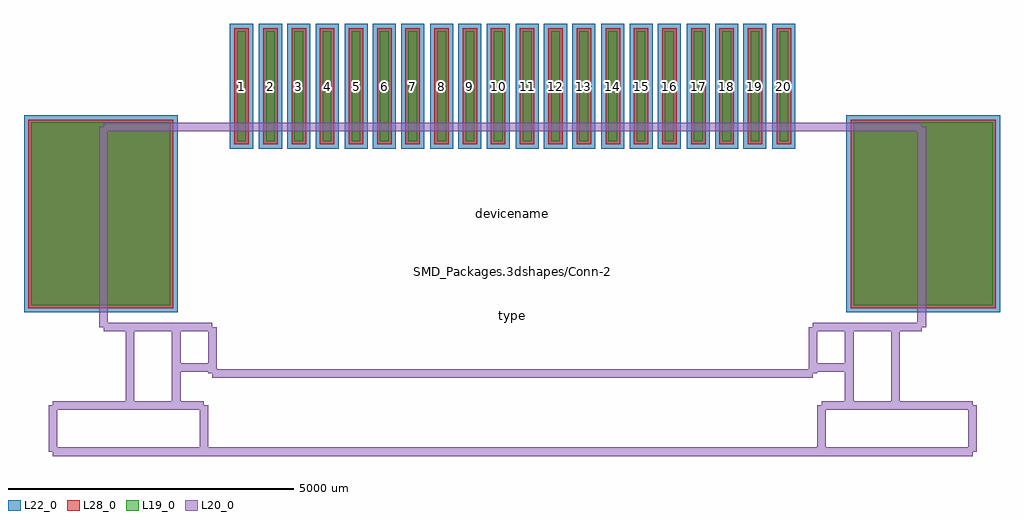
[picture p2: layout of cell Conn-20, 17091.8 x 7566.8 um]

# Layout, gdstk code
import gdstk
lib = gdstk.Library(unit=1e-6, precision=1e-09)
def R(c, l, rs):  # rectangles x0, y0, x1, y1
    for r in rs: c.add(gdstk.rectangle(r[:2], r[2:], *l))
def A(c, l, x, y, w, h, nx, ny, dx, dy):  # array of equal rectangles
    R(c, l, [(x+i*dx, y+j*dy, x+i*dx+w, y+j*dy+h) for i in range(nx) for j in range(ny)])
L19_0 = (19, 0)
L20_0 = (20, 0)
L22_0 = (22, 0)
L28_0 = (28, 0)

conn_20 = lib.new_cell('Conn-20')
A(conn_20, L19_0, -4318.8, 2285.2, 154, 1932, 3, 1, 495.3, 0)
A(conn_20, L19_0, -2820.2, 2285.2, 154, 1932, 3, 1, 495.3, 0)
A(conn_20, L19_0, -1321.6, 2285.2, 154, 1932, 3, 1, 495.3, 0)
A(conn_20, L19_0, 177, 2285.2, 154, 1932, 3, 1, 495.3, 0)
A(conn_20, L19_0, 1675.6, 2285.2, 154, 1932, 3, 1, 495.3, 0)
A(conn_20, L19_0, 3174.2, 2285.2, 154, 1932, 3, 1, 495.3, 0)
R(conn_20, L19_0, [(-8433.6,-585,-5993.6,2617), (5968.2,-585,8408.2,2617), (-4826.8,2285.2,-4672.8,4217.2), (4672.8,2285.2,4826.8,4217.2)])
A(conn_20, L22_0, -4443.8, 2160.2, 404, 2182, 3, 1, 495.3, 0)
A(conn_20, L22_0, -2945.2, 2160.2, 404, 2182, 3, 1, 495.3, 0)
A(conn_20, L22_0, -1446.6, 2160.2, 404, 2182, 3, 1, 495.3, 0)
A(conn_20, L22_0, 52, 2160.2, 404, 2182, 3, 1, 495.3, 0)
A(conn_20, L22_0, 1550.6, 2160.2, 404, 2182, 3, 1, 495.3, 0)
A(conn_20, L22_0, 3049.2, 2160.2, 404, 2182, 3, 1, 495.3, 0)
R(conn_20, L22_0, [(-8558.6,-710,-5868.6,2742), (5843.2,-710,8533.2,2742), (-4951.8,2160.2,-4547.8,4342.2), (4547.8,2160.2,4951.8,4342.2)])
A(conn_20, L28_0, -4368.8, 2235.2, 254, 2032, 3, 1, 495.3, 0)
A(conn_20, L28_0, -2870.2, 2235.2, 254, 2032, 3, 1, 495.3, 0)
A(conn_20, L28_0, -1371.6, 2235.2, 254, 2032, 3, 1, 495.3, 0)
A(conn_20, L28_0, 127, 2235.2, 254, 2032, 3, 1, 495.3, 0)
A(conn_20, L28_0, 1625.6, 2235.2, 254, 2032, 3, 1, 495.3, 0)
A(conn_20, L28_0, 3124.2, 2235.2, 254, 2032, 3, 1, 495.3, 0)
R(conn_20, L28_0, [(-8483.6,-635,-5943.6,2667), (5918.2,-635,8458.2,2667), (-4876.8,2235.2,-4622.8,4267.2), (4622.8,2235.2,4876.8,4267.2)])
conn_20.add(gdstk.FlexPath([(-7162.8,2540),(7162.8,2540)], 149.998, ends="flush", simple_path=True, layer=20, datatype=0))  # L20_0
conn_20.add(gdstk.FlexPath([(5410.2,-2336.8),(5410.2,-3149.6)], 149.998, ends="flush", simple_path=True, layer=20, datatype=0))  # L20_0
conn_20.add(gdstk.FlexPath([(8051.8,-2336.8),(5410.2,-2336.8)], 149.998, ends="flush", simple_path=True, layer=20, datatype=0))  # L20_0
conn_20.add(gdstk.FlexPath([(8051.8,-3149.6),(8051.8,-2336.8)], 149.998, ends="flush", simple_path=True, layer=20, datatype=0))  # L20_0
conn_20.add(gdstk.FlexPath([(-8051.8,-3149.6),(8051.8,-3149.6)], 149.998, ends="flush", simple_path=True, layer=20, datatype=0))  # L20_0
conn_20.add(gdstk.FlexPath([(-5410.2,-2336.8),(-5410.2,-3149.6)], 149.998, ends="flush", simple_path=True, layer=20, datatype=0))  # L20_0
conn_20.add(gdstk.FlexPath([(-8051.8,-2336.8),(-5410.2,-2336.8)], 149.998, ends="flush", simple_path=True, layer=20, datatype=0))  # L20_0
conn_20.add(gdstk.FlexPath([(-8051.8,-3149.6),(-8051.8,-2336.8)], 149.998, ends="flush", simple_path=True, layer=20, datatype=0))  # L20_0
conn_20.add(gdstk.FlexPath([(-5892.8,-965.2),(-5892.8,-2336.8)], 149.998, ends="flush", simple_path=True, layer=20, datatype=0))  # L20_0
conn_20.add(gdstk.FlexPath([(-6705.6,-965.2),(-6705.6,-2336.8)], 149.998, ends="flush", simple_path=True, layer=20, datatype=0))  # L20_0
conn_20.add(gdstk.FlexPath([(-5257.8,-1676.4),(-5892.8,-1676.4)], 149.998, ends="flush", simple_path=True, layer=20, datatype=0))  # L20_0
conn_20.add(gdstk.FlexPath([(5892.8,-965.2),(5892.8,-2336.8)], 149.998, ends="flush", simple_path=True, layer=20, datatype=0))  # L20_0
conn_20.add(gdstk.FlexPath([(5257.8,-1676.4),(5892.8,-1676.4)], 149.998, ends="flush", simple_path=True, layer=20, datatype=0))  # L20_0
conn_20.add(gdstk.FlexPath([(6705.6,-965.2),(6705.6,-2336.8)], 149.998, ends="flush", simple_path=True, layer=20, datatype=0))  # L20_0
conn_20.add(gdstk.FlexPath([(7162.8,-965.2),(7162.8,2540)], 149.998, ends="flush", simple_path=True, layer=20, datatype=0))  # L20_0
conn_20.add(gdstk.FlexPath([(5257.8,-965.2),(7162.8,-965.2)], 149.998, ends="flush", simple_path=True, layer=20, datatype=0))  # L20_0
conn_20.add(gdstk.FlexPath([(5257.8,-1778),(5257.8,-965.2)], 149.998, ends="flush", simple_path=True, layer=20, datatype=0))  # L20_0
conn_20.add(gdstk.FlexPath([(-5257.8,-1778),(5257.8,-1778)], 149.998, ends="flush", simple_path=True, layer=20, datatype=0))  # L20_0
conn_20.add(gdstk.FlexPath([(-5257.8,-965.2),(-5257.8,-1778)], 149.998, ends="flush", simple_path=True, layer=20, datatype=0))  # L20_0
conn_20.add(gdstk.FlexPath([(-7162.8,-965.2),(-5257.8,-965.2)], 149.998, ends="flush", simple_path=True, layer=20, datatype=0))  # L20_0
conn_20.add(gdstk.FlexPath([(-7162.8,2540),(-7162.8,-965.2)], 149.998, ends="flush", simple_path=True, layer=20, datatype=0))  # L20_0
conn_20.add(gdstk.Label('SMD_Packages.3dshapes/Conn-20.wrl', (0,0), layer=12, texttype=0))
conn_20.add(gdstk.Label('20', (4749.8,3251.2), layer=28, texttype=0))
conn_20.add(gdstk.Label('19', (4241.8,3251.2), layer=28, texttype=0))
conn_20.add(gdstk.Label('18', (3746.5,3251.2), layer=28, texttype=0))
conn_20.add(gdstk.Label('17', (3251.2,3251.2), layer=28, texttype=0))
conn_20.add(gdstk.Label('16', (2743.2,3251.2), layer=28, texttype=0))
conn_20.add(gdstk.Label('15', (2247.9,3251.2), layer=28, texttype=0))
conn_20.add(gdstk.Label('14', (1752.6,3251.2), layer=28, texttype=0))
conn_20.add(gdstk.Label('13', (1244.6,3251.2), layer=28, texttype=0))
conn_20.add(gdstk.Label('2', (-4241.8,3251.2), layer=28, texttype=0))
conn_20.add(gdstk.Label('3', (-3746.5,3251.2), layer=28, texttype=0))
conn_20.add(gdstk.Label('4', (-3251.2,3251.2), layer=28, texttype=0))
conn_20.add(gdstk.Label('5', (-2743.2,3251.2), layer=28, texttype=0))
conn_20.add(gdstk.Label('6', (-2247.9,3251.2), layer=28, texttype=0))
conn_20.add(gdstk.Label('7', (-1752.6,3251.2), layer=28, texttype=0))
conn_20.add(gdstk.Label('8', (-1244.6,3251.2), layer=28, texttype=0))
conn_20.add(gdstk.Label('1', (-4749.8,3251.2), layer=28, texttype=0))
conn_20.add(gdstk.Label('12', (749.3,3251.2), layer=28, texttype=0))
conn_20.add(gdstk.Label('9', (-749.3,3251.2), layer=28, texttype=0))
conn_20.add(gdstk.Label('10', (-254,3251.2), layer=28, texttype=0))
conn_20.add(gdstk.Label('11', (254,3251.2), layer=28, texttype=0))
conn_20.add(gdstk.Label('type', (0,-762), layer=9, texttype=0))
conn_20.add(gdstk.Label('devicename', (0,1016), layer=9, texttype=0))

lib.write_gds('Conn-20.gds')
